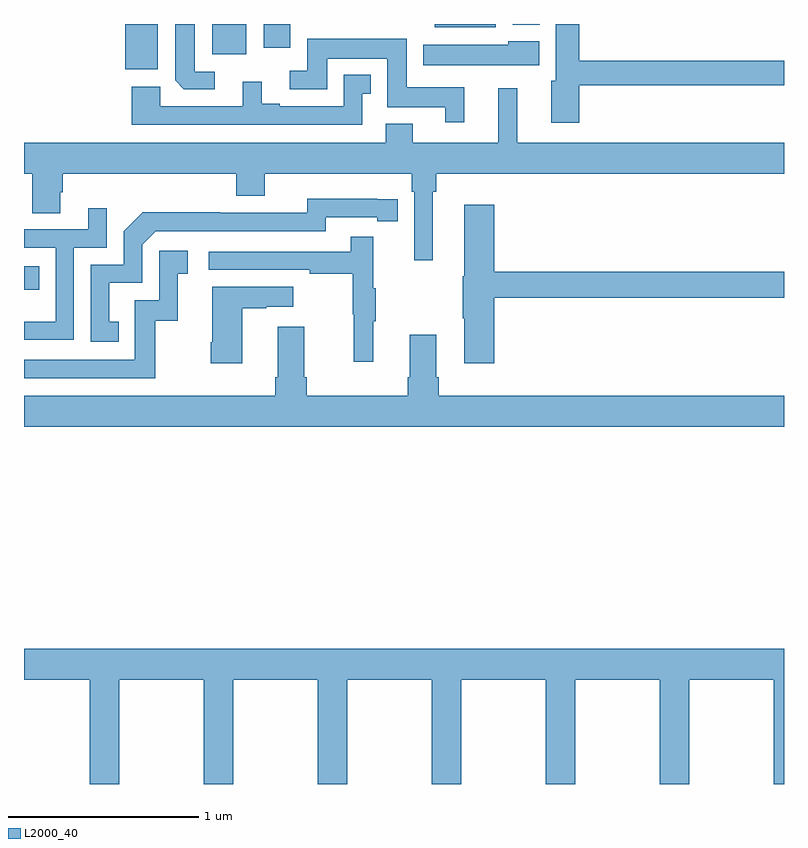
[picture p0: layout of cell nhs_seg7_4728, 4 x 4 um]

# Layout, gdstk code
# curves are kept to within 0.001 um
import gdstk
lib = gdstk.Library(unit=1e-6, precision=1e-09)
def R(c, l, rs):  # rectangles x0, y0, x1, y1
    for r in rs: c.add(gdstk.rectangle(r[:2], r[2:], *l))
def P(c, l, *ps):  # polygons
    for p in ps: c.add(gdstk.Polygon(p, *l))
L2000_40 = (2000, 40)

nhs_seg7_4728 = lib.new_cell('nhs_seg7_4728')
R(nhs_seg7_4728, L2000_40, [(407,1070.601,407.081,1070.724), (407.534,1071.761,407.704,1072), (407.99,1071.84,408.169,1072), (408.263,1071.876,408.4,1072), (409.572,1071.996,409.714,1072)])
P(nhs_seg7_4728, L2000_40, [(409.922,1071.678),(411,1071.678),(411,1071.806),(409.922,1071.806),(409.922,1072),(409.799,1072),(409.799,1071.702),(409.775,1071.702),(409.775,1071.48),(409.922,1071.48)],
  [(409.483,1072),(409.139,1072),(409.139,1071.999),(409.161,1071.999),(409.161,1071.983),(409.483,1071.983)],
  [(408.004,1071.75),(407.899,1071.75),(407.899,1072),(407.795,1072),(407.795,1071.814),(407.796,1071.814),(407.796,1071.703),(407.842,1071.657),(408.004,1071.657)],
  [(409.316,1071.667),(409.015,1071.667),(409.015,1071.922),(408.491,1071.922),(408.491,1071.753),(408.399,1071.753),(408.399,1071.657),(408.595,1071.657),(408.595,1071.818),(408.911,1071.818),(408.911,1071.563),(409.217,1071.563),(409.217,1071.483),(409.316,1071.483)],
  [(409.711,1071.91),(409.548,1071.91),(409.548,1071.892),(409.1,1071.892),(409.1,1071.782),(409.711,1071.782)],
  [(408.78,1071.633),(408.826,1071.633),(408.826,1071.733),(408.684,1071.733),(408.684,1071.567),(408.346,1071.567),(408.346,1071.58),(408.25,1071.58),(408.25,1071.697),(408.152,1071.697),(408.152,1071.567),(407.718,1071.567),(407.718,1071.67),(407.567,1071.67),(407.567,1071.471),(408.78,1071.471)],
  [(409.15,1071.116),(409.169,1071.116),(409.169,1071.212),(411,1071.212),(411,1071.376),(409.595,1071.376),(409.595,1071.661),(409.496,1071.661),(409.496,1071.376),(409.045,1071.376),(409.045,1071.475),(408.905,1071.475),(408.905,1071.376),(407,1071.376),(407,1071.212),(407.044,1071.212),(407.044,1071.004),(407.191,1071.004),(407.191,1071.114),(407.204,1071.114),(407.204,1071.212),(408.116,1071.212),(408.116,1071.095),(408.268,1071.095),(408.268,1071.212),(409.04,1071.212),(409.04,1071.116),(409.053,1071.116),(409.053,1070.757),(409.15,1070.757)],
  [(407.498,1070.433),(407.449,1070.433),(407.449,1070.637),(407.622,1070.637),(407.622,1070.838),(407.694,1070.91),(408.588,1070.91),(408.588,1070.982),(408.86,1070.982),(408.86,1070.962),(408.968,1070.962),(408.968,1071.078),(408.492,1071.079),(408.492,1071.006),(408.032,1071.006),(408.032,1071.008),(407.624,1071.008),(407.526,1070.91),(407.526,1070.733),(407.352,1070.733),(407.352,1070.328),(407.498,1070.328)],
  [(409.475,1070.56),(411,1070.56),(411,1070.696),(409.475,1070.696),(409.475,1071.049),(409.316,1071.049),(409.316,1070.673),(409.309,1070.673),(409.309,1070.452),(409.316,1070.452),(409.316,1070.214),(409.475,1070.214)],
  [(407.262,1070.823),(407.436,1070.823),(407.436,1071.031),(407.339,1071.031),(407.339,1070.919),(407,1070.919),(407,1070.823),(407.166,1070.823),(407.166,1070.434),(407,1070.434),(407,1070.337),(407.262,1070.337)],
  [(408.839,1070.435),(408.85,1070.435),(408.85,1070.609),(408.839,1070.609),(408.839,1070.881),(408.721,1070.881),(408.721,1070.802),(407.973,1070.802),(407.973,1070.706),(408.505,1070.706),(408.505,1070.686),(408.729,1070.686),(408.729,1070.472),(408.736,1070.472),(408.736,1070.223),(408.839,1070.223)],
  [(407.692,1070.439),(407.81,1070.439),(407.81,1070.685),(407.863,1070.685),(407.863,1070.806),(407.712,1070.806),(407.712,1070.547),(407.583,1070.547),(407.583,1070.232),(407,1070.232),(407,1070.136),(407.692,1070.136)],
  [(408.148,1070.503),(408.275,1070.503),(408.275,1070.513),(408.418,1070.513),(408.418,1070.617),(407.99,1070.617),(407.99,1070.326),(407.983,1070.326),(407.983,1070.214),(408.148,1070.214)],
  [(411,1070.044),(409.184,1070.044),(409.184,1070.14),(409.171,1070.14),(409.171,1070.365),(409.031,1070.365),(409.031,1070.14),(409.019,1070.14),(409.019,1070.044),(408.488,1070.044),(408.488,1070.14),(408.475,1070.14),(408.475,1070.407),(408.335,1070.407),(408.335,1070.14),(408.323,1070.14),(408.323,1070.044),(407,1070.044),(407,1069.88),(411,1069.88)],
  [(407,1068.548),(407.347,1068.548),(407.347,1068),(407.502,1068),(407.502,1068.548),(407.947,1068.548),(407.947,1068),(408.102,1068),(408.102,1068.548),(408.547,1068.548),(408.547,1068),(408.702,1068),(408.702,1068.548),(409.147,1068.548),(409.147,1068),(409.302,1068),(409.302,1068.548),(409.747,1068.548),(409.747,1068),(409.902,1068),(409.902,1068.548),(410.347,1068.548),(410.347,1068),(410.502,1068),(410.502,1068.548),(410.947,1068.548),(410.947,1068),(411,1068),(411,1068.712),(407,1068.712)])

lib.write_gds('nhs_seg7_4728.gds')
